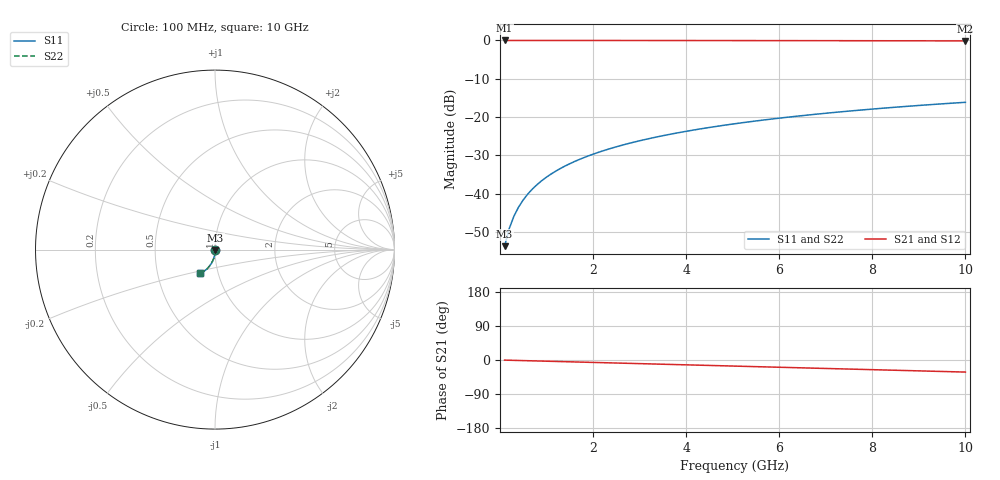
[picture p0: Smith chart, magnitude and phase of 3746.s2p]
# Hz S RI R 50.00
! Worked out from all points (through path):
!   100 points, 100 MHz to 10 GHz, reference 50 ohm
!   highest |S21| = -0.01 dB at 100 MHz (marker M1); lowest = -0.1 dB at 10 GHz (marker M2)
!   group delay of S21, straight-line fit = 8.85 ps
!   lowest |S11| = -53.7 dB at 100 MHz (marker M3), VSWR 1.00, Z = 50.1 - j0.165 ohm
!   |S11| at or under -10 dB: start of sweep to end of sweep
!   |S22| runs from -53.7 to -16.2 dB; largest |S21 - S12| = 0
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1e8  0.00124 -0.00164  0.9987 -0.00556  0.9987 -0.00556  0.00124 -0.00164
2e8  0.00122 -0.00328  0.9987 -0.0111  0.9987 -0.0111  0.00122 -0.00328
3e8  0.00117 -0.00492  0.9986 -0.0167  0.9986 -0.0167  0.00117 -0.00492
4e8  0.00111 -0.00657  0.9984 -0.0222  0.9984 -0.0222  0.00111 -0.00657
5e8  0.00103 -0.00821  0.9983 -0.0278  0.9983 -0.0278  0.00103 -0.00821
6e8  0.00093 -0.00984  0.9981 -0.0333  0.9981 -0.0333  0.00093 -0.00984
7e8  0.000811 -0.0115  0.9979 -0.0389  0.9979 -0.0389  0.000811 -0.0115
8e8  0.000675 -0.0131  0.9976 -0.0444  0.9976 -0.0444  0.000675 -0.0131
9e8  0.000519 -0.0148  0.9973 -0.05  0.9973 -0.05  0.000519 -0.0148
1.1e9  0.000154 -0.018  0.9966 -0.0611  0.9966 -0.0611  0.000154 -0.018
1.4e9  -0.000531 -0.0229  0.9954 -0.0777  0.9954 -0.0777  -0.000531 -0.0229
1.8e9  -0.0017 -0.0294  0.9932 -0.0998  0.9932 -0.0998  -0.0017 -0.0294
2.1e9  -0.00276 -0.0342  0.9912 -0.1164  0.9912 -0.1164  -0.00276 -0.0342
2.5e9  -0.00443 -0.0406  0.9881 -0.1384  0.9881 -0.1384  -0.00443 -0.0406
2.9e9  -0.00638 -0.0469  0.9845 -0.1603  0.9845 -0.1603  -0.00638 -0.0469
3.4e9  -0.00922 -0.0546  0.9792 -0.1876  0.9792 -0.1876  -0.00922 -0.0546
4.2e9  -0.0146 -0.0666  0.969 -0.2309  0.969 -0.2309  -0.0146 -0.0666
5.1e9  -0.022 -0.0795  0.9552 -0.2788  0.9552 -0.2788  -0.022 -0.0795
5.9e9  -0.0295 -0.0903  0.9407 -0.3207  0.9407 -0.3207  -0.0295 -0.0903
6.7e9  -0.038 -0.1004  0.9243 -0.3617  0.9243 -0.3617  -0.038 -0.1004
8.4e9  -0.0588 -0.119  0.8833 -0.4458  0.8833 -0.4458  -0.0588 -0.119
1e10  -0.0811 -0.1326  0.8374 -0.5204  0.8374 -0.5204  -0.0811 -0.1326
